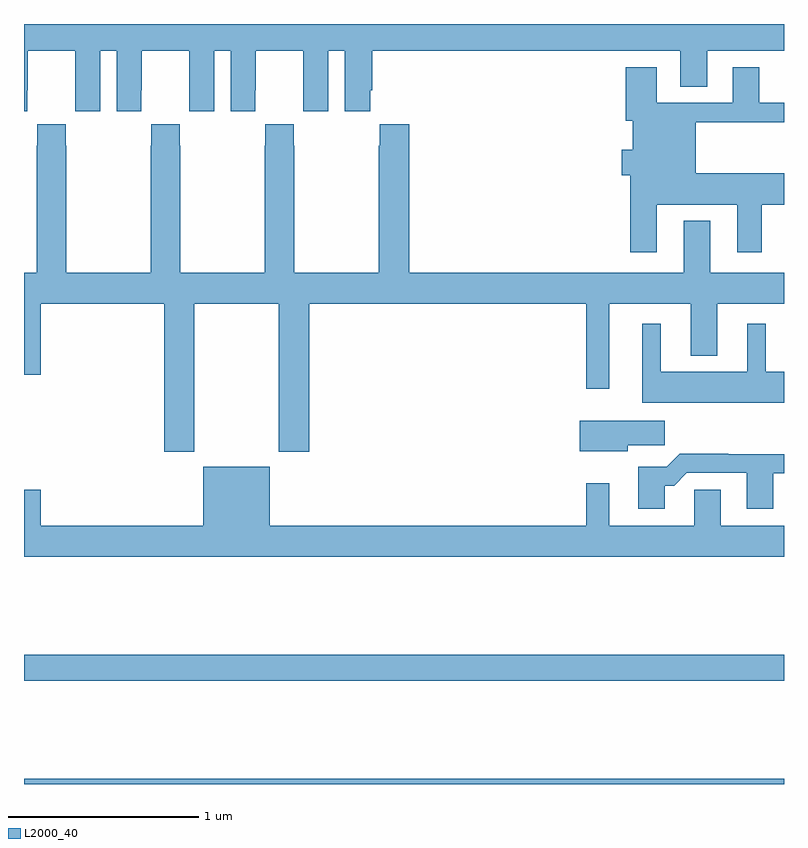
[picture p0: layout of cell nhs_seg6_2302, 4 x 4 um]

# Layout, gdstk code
import gdstk
lib = gdstk.Library(unit=1e-6, precision=1e-09)
def R(c, l, rs):  # rectangles x0, y0, x1, y1
    for r in rs: c.add(gdstk.rectangle(r[:2], r[2:], *l))
def P(c, l, *ps):  # polygons
    for p in ps: c.add(gdstk.Polygon(p, *l))
L2000_40 = (2000, 40)

nhs_seg6_2302 = lib.new_cell('nhs_seg6_2302')
R(nhs_seg6_2302, L2000_40, [(249,919.5,253,919.528), (249,920.044,253,920.18)])
P(nhs_seg6_2302, L2000_40, [(249.018,923.152),(249.019,923.152),(249.019,923.36),(249.269,923.36),(249.269,923.152),(249.27,923.152),(249.27,923.04),(249.4,923.04),(249.4,923.36),(249.488,923.36),(249.488,923.04),(249.618,923.04),(249.618,923.152),(249.619,923.152),(249.619,923.36),(249.869,923.36),(249.869,923.152),(249.87,923.152),(249.87,923.04),(250,923.04),(250,923.36),(250.088,923.36),(250.088,923.04),(250.218,923.04),(250.218,923.152),(250.219,923.152),(250.219,923.36),(250.469,923.36),(250.469,923.152),(250.47,923.152),(250.47,923.04),(250.6,923.04),(250.6,923.36),(250.688,923.36),(250.688,923.04),(250.822,923.04),(250.822,923.152),(250.832,923.152),(250.832,923.36),(252.455,923.36),(252.455,923.17),(252.595,923.17),(252.595,923.36),(253,923.36),(253,923.5),(249,923.5),(249,923.04),(249.018,923.04)],
  [(252.331,922.55),(252.755,922.55),(252.755,922.299),(252.883,922.299),(252.883,922.55),(253,922.55),(253,922.714),(252.535,922.714),(252.535,922.984),(253,922.984),(253,923.085),(252.871,923.085),(252.871,923.272),(252.731,923.272),(252.731,923.085),(252.331,923.085),(252.331,923.272),(252.167,923.272),(252.167,922.992),(252.203,922.992),(252.203,922.837),(252.146,922.837),(252.146,922.703),(252.191,922.703),(252.191,922.299),(252.331,922.299)],
  [(249.897,922.028),(250.342,922.028),(250.342,921.249),(250.502,921.249),(250.502,922.028),(251.958,922.028),(251.958,921.579),(252.079,921.579),(252.079,922.028),(252.509,922.028),(252.509,921.755),(252.649,921.755),(252.649,922.028),(253,922.028),(253,922.192),(252.613,922.192),(252.613,922.465),(252.473,922.465),(252.473,922.192),(251.027,922.192),(251.027,922.972),(250.873,922.972),(250.873,922.859),(250.867,922.859),(250.867,922.192),(250.422,922.192),(250.422,922.859),(250.419,922.859),(250.419,922.972),(250.269,922.972),(250.269,922.859),(250.267,922.859),(250.267,922.192),(249.822,922.192),(249.822,922.859),(249.819,922.859),(249.819,922.972),(249.669,922.972),(249.669,922.859),(249.667,922.859),(249.667,922.192),(249.222,922.192),(249.222,922.859),(249.219,922.859),(249.219,922.972),(249.069,922.972),(249.069,922.859),(249.067,922.859),(249.067,922.192),(249,922.192),(249,921.654),(249.088,921.654),(249.088,922.028),(249.737,922.028),(249.737,921.249),(249.897,921.249)],
  [(253,921.67),(252.904,921.67),(252.904,921.922),(252.806,921.922),(252.806,921.67),(252.352,921.67),(252.352,921.922),(252.254,921.922),(252.254,921.506),(253,921.506)],
  [(252.178,921.283),(252.373,921.283),(252.373,921.412),(251.924,921.412),(251.924,921.251),(252.178,921.251)],
  [(252.373,921.071),(252.422,921.071),(252.489,921.138),(252.803,921.138),(252.803,920.949),(252.943,920.949),(252.943,921.135),(253,921.135),(253,921.236),(252.707,921.236),(252.707,921.239),(252.452,921.239),(252.382,921.169),(252.233,921.169),(252.233,920.949),(252.373,920.949)],
  [(253,920.86),(252.667,920.86),(252.667,921.05),(252.528,921.05),(252.528,920.86),(252.079,920.86),(252.079,921.082),(251.958,921.082),(251.958,920.86),(250.294,920.86),(250.294,921.169),(249.944,921.169),(249.944,920.86),(249.088,920.86),(249.088,921.049),(249,921.049),(249,920.696),(253,920.696)])

lib.write_gds('nhs_seg6_2302.gds')
